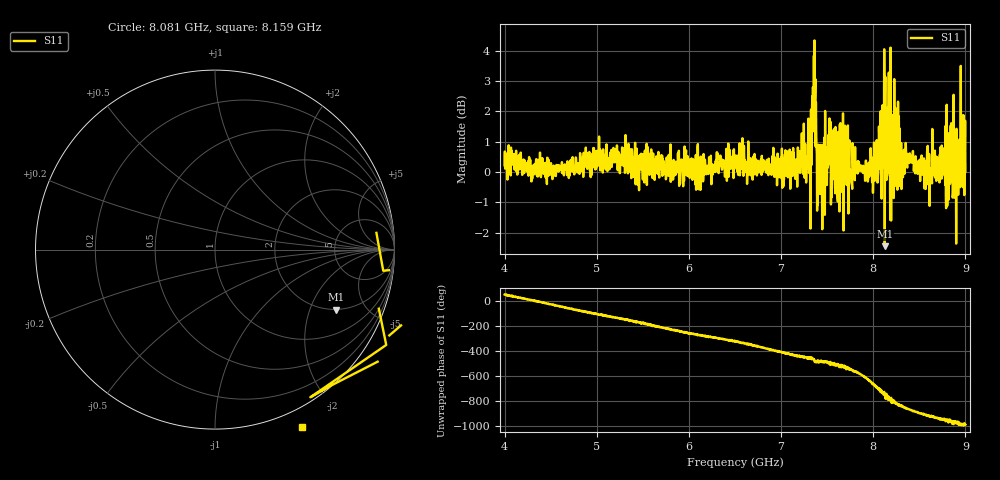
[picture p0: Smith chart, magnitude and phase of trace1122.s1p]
! Created with skrf 1.8.0 (http://scikit-rf.org).
# Hz S RI R 50.0
!freq ReS11 ImS11
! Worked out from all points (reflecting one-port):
!   1601 points, 4 GHz to 9 GHz, reference 50 ohm
!   lowest |S11| = -2.4 dB at 8.125 GHz (marker M1), VSWR 7.16, Z = 99.2 - j155 ohm
!   phase of S11 starts at 52 deg and turns -1038 deg over the sweep
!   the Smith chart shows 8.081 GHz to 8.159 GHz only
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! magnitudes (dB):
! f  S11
! 4 GHz  0.2
! 4.625 GHz  0.0
! 5.25 GHz  0.0
! 5.875 GHz  0.0
! 6.5 GHz  0.2
! 7.125 GHz  -0.1
! 7.294 GHz  0.4
! 7.356 GHz  3.8
! 7.4 GHz  0.4
! 7.428 GHz  0.8
! 7.512 GHz  1.2
! 7.609 GHz  -0.4
! 7.65 GHz  1.1
! 7.75 GHz  0.1
! 8.006 GHz  0.2
! 8.072 GHz  1.2
! 8.097 GHz  0.4
! 8.125 GHz  -2.4
! 8.153 GHz  0.8
! 8.209 GHz  1.3
! 8.253 GHz  0.8
! 8.316 GHz  0.4
! 8.375 GHz  0.6
! 8.697 GHz  0.5
! 8.822 GHz  0.9
! 8.919 GHz  -0.3
! 8.959 GHz  1.9
! 9 GHz  0.0
